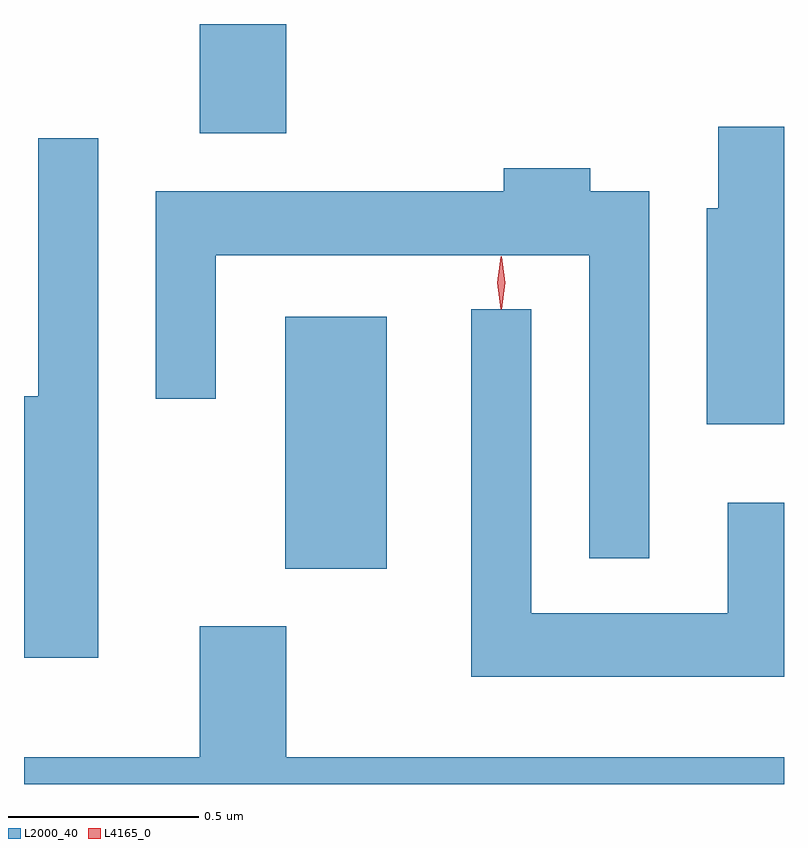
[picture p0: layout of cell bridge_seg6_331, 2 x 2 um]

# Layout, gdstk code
import gdstk
lib = gdstk.Library(unit=1e-6, precision=1e-09)
def R(c, l, rs):  # rectangles x0, y0, x1, y1
    for r in rs: c.add(gdstk.rectangle(r[:2], r[2:], *l))
def P(c, l, *ps):  # polygons
    for p in ps: c.add(gdstk.Polygon(p, *l))
L2000_40 = (2000, 40)
L4165_0 = (4165, 0)

bridge_seg6_331 = lib.new_cell('bridge_seg6_331')
R(bridge_seg6_331, L2000_40, [(1326.376,1537.481,1326.644,1538.144), (1326.151,1538.626,1326.379,1538.914)])
P(bridge_seg6_331, L2000_40, [(1327.689,1538.644),(1327.516,1538.644),(1327.516,1538.429),(1327.486,1538.429),(1327.486,1537.861),(1327.689,1537.861)],
  [(1325.884,1538.613),(1325.726,1538.613),(1325.726,1537.934),(1325.689,1537.934),(1325.689,1537.246),(1325.884,1537.246)],
  [(1327.334,1538.474),(1327.179,1538.474),(1327.179,1538.534),(1326.951,1538.534),(1326.951,1538.474),(1326.036,1538.474),(1326.036,1537.928),(1326.194,1537.928),(1326.194,1538.306),(1327.176,1538.306),(1327.176,1537.508),(1327.334,1537.508)],
  [(1327.689,1537.654),(1327.541,1537.654),(1327.541,1537.364),(1327.024,1537.364),(1327.024,1538.163),(1326.866,1538.163),(1326.866,1537.196),(1327.689,1537.196)],
  [(1327.689,1536.984),(1326.379,1536.984),(1326.379,1537.329),(1326.151,1537.329),(1326.151,1536.984),(1325.689,1536.984),(1325.689,1536.914),(1327.689,1536.914)])
P(bridge_seg6_331, L4165_0, [(1326.944,1538.164),(1326.935,1538.233),(1326.944,1538.302),(1326.945,1538.303),(1326.946,1538.302),(1326.955,1538.233),(1326.946,1538.164),(1326.945,1538.164)])

lib.write_gds('bridge_seg6_331.gds')
